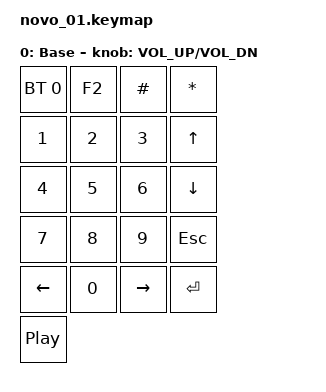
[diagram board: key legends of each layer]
#include <behaviors.dtsi>
#include <dt-bindings/zmk/keys.h>
#include <dt-bindings/zmk/bt.h>

/ {
    keymap {
        compatible = "zmk,keymap";

        default_layer {
            display-name = "Base"; 
            bindings = <
                &bt BT_SEL 0    &kp F2    &kp HASH  &kp ASTRK
                &kp N1          &kp N2    &kp N3    &kp UP
                &kp N4          &kp N5    &kp N6    &kp DOWN
                &kp N7          &kp N8    &kp N9    &kp ESC
                &kp LEFT        &kp N0    &kp RIGHT &kp ENTER
                &kp C_PP                            // Przycisk SW na RC(5,0)
            >;

            sensor-bindings = <&inc_dec_kp C_VOL_UP C_VOL_DN>;
        };
    };
};
